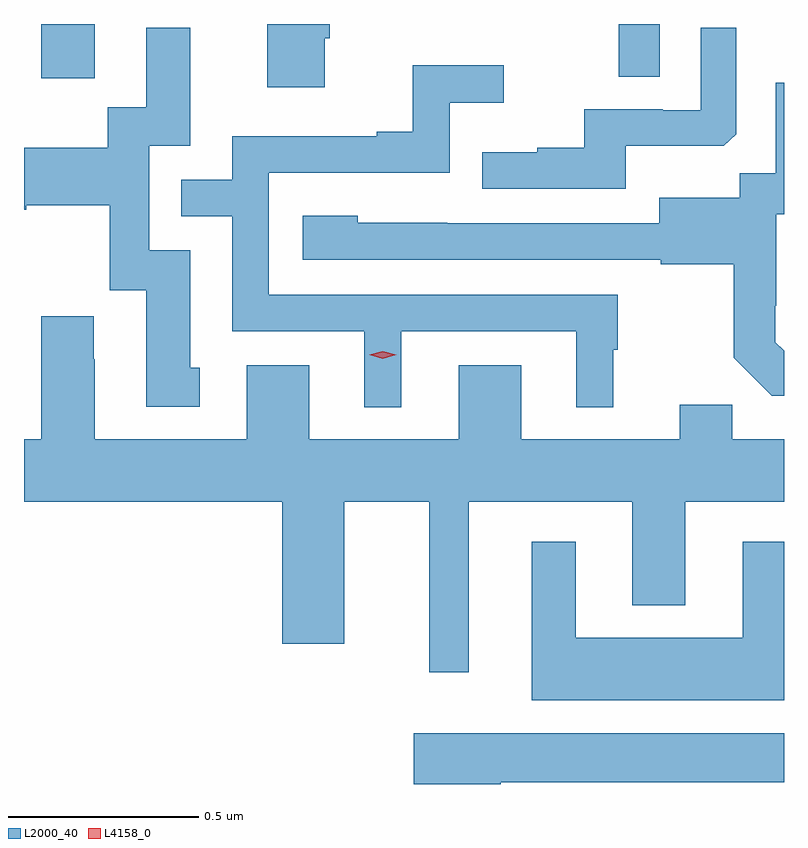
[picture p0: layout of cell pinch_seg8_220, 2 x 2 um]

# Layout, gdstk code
import gdstk
lib = gdstk.Library(unit=1e-6, precision=1e-09)
def R(c, l, rs):  # rectangles x0, y0, x1, y1
    for r in rs: c.add(gdstk.rectangle(r[:2], r[2:], *l))
def P(c, l, *ps):  # polygons
    for p in ps: c.add(gdstk.Polygon(p, *l))
L2000_40 = (2000, 40)
L4158_0 = (4158, 0)

pinch_seg8_220 = lib.new_cell('pinch_seg8_220')
R(pinch_seg8_220, L2000_40, [(655.883,1114.95,656.023,1115.093), (657.402,1114.954,657.51,1115.093)])
P(pinch_seg8_220, L2000_40, [(656.629,1115.055),(656.642,1115.055),(656.642,1115.093),(656.477,1115.093),(656.477,1114.926),(656.629,1114.926)],
  [(656.299,1114.188),(656.275,1114.188),(656.275,1114.497),(656.166,1114.497),(656.166,1114.773),(656.275,1114.773),(656.275,1115.083),(656.159,1115.083),(656.159,1114.874),(656.058,1114.874),(656.058,1114.768),(655.837,1114.768),(655.837,1114.604),(655.843,1114.604),(655.843,1114.616),(656.063,1114.616),(656.063,1114.392),(656.159,1114.392),(656.159,1114.086),(656.299,1114.086)],
  [(657.421,1114.772),(657.679,1114.772),(657.711,1114.803),(657.711,1115.083),(657.618,1115.083),(657.618,1114.866),(657.518,1114.866),(657.518,1114.869),(657.311,1114.869),(657.311,1114.768),(657.187,1114.768),(657.187,1114.756),(657.043,1114.756),(657.043,1114.659),(657.421,1114.659)],
  [(656.83,1114.284),(657.29,1114.284),(657.29,1114.085),(657.388,1114.085),(657.388,1114.236),(657.4,1114.236),(657.4,1114.38),(656.481,1114.38),(656.481,1114.701),(656.958,1114.701),(656.958,1114.886),(657.1,1114.886),(657.1,1114.985),(656.86,1114.985),(656.86,1114.81),(656.765,1114.81),(656.765,1114.797),(656.385,1114.797),(656.385,1114.683),(656.251,1114.683),(656.251,1114.587),(656.385,1114.587),(656.385,1114.284),(656.732,1114.284),(656.732,1114.085),(656.83,1114.085)],
  [(657.837,1114.233),(657.814,1114.256),(657.814,1114.351),(657.816,1114.351),(657.816,1114.592),(657.837,1114.592),(657.837,1114.939),(657.815,1114.939),(657.815,1114.7),(657.72,1114.7),(657.72,1114.636),(657.509,1114.636),(657.509,1114.569),(656.951,1114.569),(656.951,1114.57),(656.715,1114.57),(656.715,1114.588),(656.571,1114.588),(656.571,1114.473),(657.513,1114.473),(657.513,1114.461),(657.705,1114.461),(657.705,1114.215),(657.805,1114.115),(657.837,1114.115)],
  [(657.007,1113.836),(657.437,1113.836),(657.437,1113.563),(657.577,1113.563),(657.577,1113.836),(657.837,1113.836),(657.837,1114),(657.701,1114),(657.701,1114.091),(657.563,1114.091),(657.563,1114),(657.145,1114),(657.145,1114.195),(656.981,1114.195),(656.981,1114),(656.587,1114),(656.587,1114.195),(656.423,1114.195),(656.423,1114),(656.023,1114),(656.023,1114.211),(656.02,1114.211),(656.02,1114.324),(655.883,1114.324),(655.883,1114),(655.837,1114),(655.837,1113.836),(656.516,1113.836),(656.516,1113.462),(656.68,1113.462),(656.68,1113.836),(656.903,1113.836),(656.903,1113.387),(657.007,1113.387)],
  [(657.837,1113.73),(657.728,1113.73),(657.728,1113.478),(657.289,1113.478),(657.289,1113.73),(657.173,1113.73),(657.173,1113.314),(657.837,1113.314)],
  [(657.091,1113.098),(657.837,1113.098),(657.837,1113.226),(656.862,1113.226),(656.862,1113.093),(657.091,1113.093)])
P(pinch_seg8_220, L4158_0, [(656.781,1114.212),(656.745,1114.222),(656.745,1114.222),(656.745,1114.222),(656.781,1114.232),(656.817,1114.222),(656.817,1114.222),(656.817,1114.222)])

lib.write_gds('pinch_seg8_220.gds')
